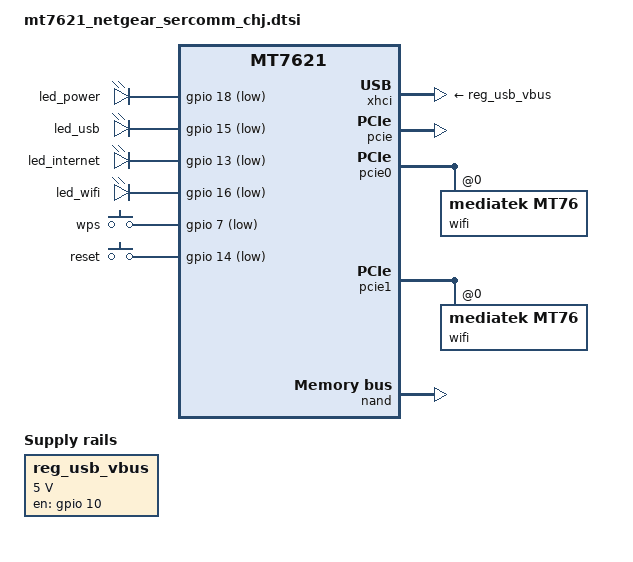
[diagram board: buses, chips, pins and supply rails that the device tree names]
// SPDX-License-Identifier: GPL-2.0

#include "mt7621.dtsi"

#include <dt-bindings/gpio/gpio.h>
#include <dt-bindings/input/input.h>

/ {
	compatible = "mediatek,mt7621-soc";

	aliases {
		led-boot = &led_power;
		led-failsafe = &led_power;
		led-running = &led_power;
		led-upgrade = &led_power;
		label-mac-device = &gmac0;
	};

	chosen {
		bootargs = "console=ttyS0,57600";
	};

	leds {
		compatible = "gpio-leds";

		led_power: power {
			gpios = <&gpio 18 GPIO_ACTIVE_LOW>;
		};

		led_usb: usb {
			gpios = <&gpio 15 GPIO_ACTIVE_LOW>;
			trigger-sources = <&xhci_ehci_port1>, <&ehci_port2>;
			linux,default-trigger = "usbport";
		};

		led_internet: internet {
			gpios = <&gpio 13 GPIO_ACTIVE_LOW>;
		};

		led_wifi: wifi {
			gpios = <&gpio 16 GPIO_ACTIVE_LOW>;
			linux,default-trigger = "phy0tpt";
		};
	};

	keys {
		compatible = "gpio-keys";

		wps {
			label = "wps";
			gpios = <&gpio 7 GPIO_ACTIVE_LOW>;
			linux,code = <KEY_WPS_BUTTON>;
		};

		reset {
			label = "reset";
			gpios = <&gpio 14 GPIO_ACTIVE_LOW>;
			linux,code = <KEY_RESTART>;
		};
	};

	reg_usb_vbus: regulator {
		compatible = "regulator-fixed";
		regulator-name = "usb_vbus";
		regulator-min-microvolt = <5000000>;
		regulator-max-microvolt = <5000000>;
		gpio = <&gpio 10 GPIO_ACTIVE_HIGH>;
		enable-active-high;
	};
};

&xhci {
	vbus-supply = <&reg_usb_vbus>;
};

&pcie {
	status = "okay";
};

&pcie0 {
	wifi@0,0 {
		compatible = "mediatek,mt76";
		reg = <0x0 0 0 0 0>;
		mediatek,mtd-eeprom = <&factory 0x8000>;
		ieee80211-freq-limit = <5000000 6000000>;
	};
};

&pcie1 {
	wifi@0,0 {
		compatible = "mediatek,mt76";
		reg = <0x0 0 0 0 0>;
		mediatek,mtd-eeprom = <&factory 0x0>;
		ieee80211-freq-limit = <2400000 2500000>;
	};
};

&gmac0 {
	mtd-mac-address = <&factory 0x4>;
};

&switch0 {
	ports {
		port@0 {
			status = "okay";
			label = "lan4";
		};

		port@1 {
			status = "okay";
			label = "lan3";
		};

		port@2 {
			status = "okay";
			label = "lan2";
		};

		port@3 {
			status = "okay";
			label = "lan1";
		};

		port@4 {
			status = "okay";
			label = "wan";
			mtd-mac-address = <&factory 0x4>;
			mtd-mac-address-increment = <2>;
		};
	};
};

&state_default {
	gpio {
		groups = "uart3", "uart2", "jtag", "wdt";
		function = "gpio";
	};
};

&nand {
	status = "okay";

	partitions {
		compatible = "fixed-partitions";
		#address-cells = <1>;
		#size-cells = <1>;

		partition@0 {
			label = "u-boot";
			reg = <0x0 0x100000>;
			read-only;
		};
		
		partition@1 {
			label = "SC PART_MAP";
			reg = <0x100000 0x100000>;
			read-only;
		};
		
		partition@100000 {
			label = "BootEnv";
			reg = <0x100000 0x80000>;
			read-only;
		};
		
		partition@180000 {
			label = "Factory";
			reg = <0x180000 0x80000>;
		};

		partition@200000 {
			label = "kernel";
			reg = <0x200000 0x400000>;
		};

		partition@600000 {
			label = "ubi";
			reg = <0x600000 0x2800000>;
		};
		
		partition@2 {
			label = "firmware";
			reg = <0x200000 0x2C00000>;
		};

		partition@2e00000 {
			label = "reserved0";
			reg = <0x2e00000 0x1800000>;
			read-only;
		};
		
		factory: partition@4600000 {
			label = "factory";
			reg = <0x4600000 0x200000>;
			read-only;
		};
		
		partition@3 {
			label = "epprom";
			reg = <0x4600000 0x80000>;
			read-only;
		};
		
		partition@4800000 {
			label = "reserved1";
			reg = <0x4800000 0x3800000>;
			read-only;
		};
	};
};
